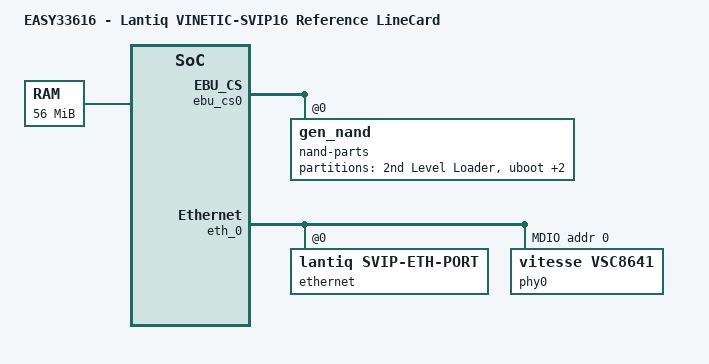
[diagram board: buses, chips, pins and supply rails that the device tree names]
/dts-v1/;

#include "svip.dtsi"

/ {
	model = "EASY33616 - Lantiq VINETIC-SVIP16 Reference LineCard";
	compatible = "lantiq,easy33616", "lantiq,svip";

	memory@0 {
		device_type = "memory";
		reg = <0x0 0x3800000>;  // 56M at 0x0 (total size - 8 MB for firmware)
	};

	svip_reset@0 {
		compatible = "lantiq,svip-reset";
		svip-toggle-reset-pin = <0x120000f3 1>;
//		// for EASY33016 board it will be
//		// svip-toggle-reset-pin = <0x120000f3 0x88888888>;
	};
};

&ebu_cs0 {
	nand-parts@0 {
		#address-cells = <1>;
		#size-cells = <1>;
		compatible = "gen_nand", "lantiq,nand-svip";
		bank-width = <1>;
		reg = <0x0 0x2000000>;
		linux,mtd-name = "gen_nand";
		bbt-use-flash;
		
		partition@0 {
			label = "2nd Level Loader";
			reg = <0x0 0x4000>;
		};
		
		partition@4000 {
			label = "uboot";
			reg = <0x4000 0x4C000>;
		};

		partition@50000 {
			label = "uboot_env";
			reg = <0x50000 0x10000>;
		};

		partition@60000 {
			label = "linux";
			reg = <0x60000 0x800000>;
		};
		
	};
};

&eth_0 {
	ethernet@0 {
		compatible = "lantiq,svip-eth-port";
		reg = <0>;
		phy-handle = <&phy0>;
	};

	mdio@0 {
		#address-cells = <1>;
		#size-cells = <0>;
		compatible = "lantiq,svip-mdio";
		phy0: ethernet-phy@0 {
			reg = <0x0>;
			compatible = "vitesse,vsc8641", "ethernet-phy-ieee802.3-c22";
		};
	};
};
